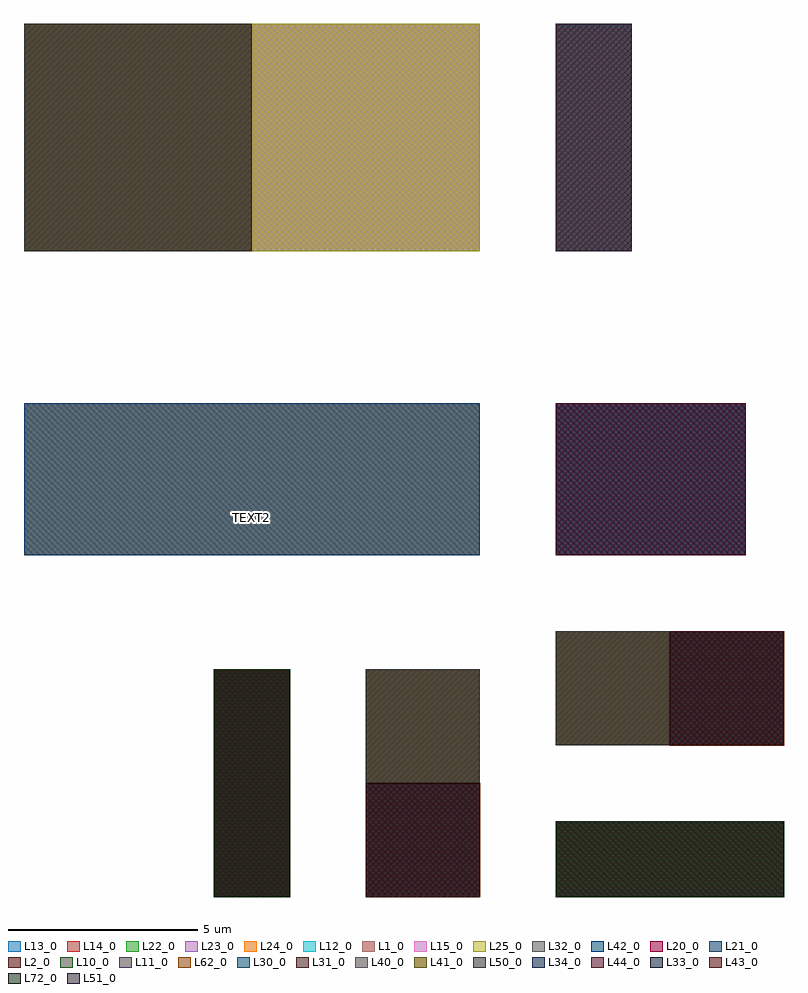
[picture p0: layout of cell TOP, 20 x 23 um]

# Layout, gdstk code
from math import pi, radians
import gdstk
lib = gdstk.Library(unit=1e-6, precision=1e-09)
def R(c, l, rs):  # rectangles x0, y0, x1, y1
    for r in rs: c.add(gdstk.rectangle(r[:2], r[2:], *l))
L1_0 = (1, 0)
L2_0 = (2, 0)
L10_0 = (10, 0)
L11_0 = (11, 0)
L12_0 = (12, 0)
L13_0 = (13, 0)
L14_0 = (14, 0)
L15_0 = (15, 0)
L20_0 = (20, 0)
L21_0 = (21, 0)
L22_0 = (22, 0)
L23_0 = (23, 0)
L24_0 = (24, 0)
L25_0 = (25, 0)
L30_0 = (30, 0)
L31_0 = (31, 0)
L32_0 = (32, 0)
L33_0 = (33, 0)
L34_0 = (34, 0)
L40_0 = (40, 0)
L41_0 = (41, 0)
L42_0 = (42, 0)
L43_0 = (43, 0)
L44_0 = (44, 0)
L50_0 = (50, 0)
L51_0 = (51, 0)
L61_0 = (61, 0)
L62_0 = (62, 0)
L71_0 = (71, 0)
L72_0 = (72, 0)

c_a = lib.new_cell('A')
R(c_a, L1_0, [(0,0,2,6), (4,0,7,3)])
R(c_a, L2_0, [(4,3,7,6)])
R(c_a, L10_0, [(4,3,7,6)])
R(c_a, L11_0, [(4,3,7,6)])
c_a.add(gdstk.Label('TEXT1', (1,3), layer=3, texttype=0))

a_1 = lib.new_cell('A$1')
R(a_1, L12_0, [(0,0,2,6), (4,0,7,3)])
R(a_1, L13_0, [(0,0,2,6), (4,0,7,3)])
R(a_1, L14_0, [(0,0,2,6), (4,0,7,3)])
R(a_1, L20_0, [(4,3,7,6)])
R(a_1, L21_0, [(4,3,7,6)])
R(a_1, L22_0, [(0,0,2,6), (4,0,7,3)])
R(a_1, L23_0, [(0,0,2,6), (4,0,7,3)])
R(a_1, L24_0, [(0,0,2,6), (4,0,7,3)])
R(a_1, L30_0, [(4,3,7,6)])
R(a_1, L31_0, [(4,3,7,6)])
R(a_1, L33_0, [(0,0,2,6), (4,0,7,3)])
R(a_1, L34_0, [(0,0,2,6), (4,0,7,3)])
R(a_1, L40_0, [(4,3,7,6)])
R(a_1, L41_0, [(4,3,7,6)])
R(a_1, L43_0, [(0,0,2,6), (4,0,7,3)])
R(a_1, L44_0, [(0,0,2,6), (4,0,7,3)])
R(a_1, L50_0, [(4,3,7,6)])
R(a_1, L62_0, [(-0.001,-0.001,2.001,6.001), (3.999,-0.001,7.001,3.001), (3.999,-0.001,7.001,3.001)])
R(a_1, L72_0, [(-0.001,-0.001,2.001,6.001)])
a_1.add(gdstk.FlexPath([(0,0),(0,6)], 0, ends="flush", simple_path=True, layer=61, datatype=0))  # L61_0
a_1.add(gdstk.FlexPath([(0,6),(2,6)], 0, ends="flush", simple_path=True, layer=61, datatype=0))  # L61_0
a_1.add(gdstk.FlexPath([(2,6),(2,0)], 0, ends="flush", simple_path=True, layer=61, datatype=0))  # L61_0
a_1.add(gdstk.FlexPath([(2,0),(0,0)], 0, ends="flush", simple_path=True, layer=61, datatype=0))  # L61_0
a_1.add(gdstk.FlexPath([(4,0),(4,3)], 0, ends="flush", simple_path=True, layer=61, datatype=0))  # L61_0
a_1.add(gdstk.FlexPath([(4,3),(7,3)], 0, ends="flush", simple_path=True, layer=61, datatype=0))  # L61_0
a_1.add(gdstk.FlexPath([(7,3),(7,0)], 0, ends="flush", simple_path=True, layer=61, datatype=0))  # L61_0
a_1.add(gdstk.FlexPath([(7,0),(4,0)], 0, ends="flush", simple_path=True, layer=61, datatype=0))  # L61_0
a_1.add(gdstk.FlexPath([(0,6),(2,6)], 0, ends="flush", simple_path=True, layer=71, datatype=0))  # L71_0
a_1.add(gdstk.FlexPath([(2,0),(0,0)], 0, ends="flush", simple_path=True, layer=71, datatype=0))  # L71_0
a_1.add(gdstk.FlexPath([(4,0),(4,3)], 0, ends="flush", simple_path=True, layer=71, datatype=0))  # L71_0
a_1.add(gdstk.FlexPath([(4,3),(7,3)], 0, ends="flush", simple_path=True, layer=71, datatype=0))  # L71_0
a_1.add(gdstk.FlexPath([(7,3),(7,0)], 0, ends="flush", simple_path=True, layer=71, datatype=0))  # L71_0
a_1.add(gdstk.FlexPath([(7,0),(4,0)], 0, ends="flush", simple_path=True, layer=71, datatype=0))  # L71_0
a_1.add(gdstk.Label('TEXT1', (1,3), layer=60, texttype=0))
a_1.add(gdstk.Label('TEXT1', (1,3), layer=70, texttype=0))

a_var1 = lib.new_cell('A$VAR1')
R(a_var1, L12_0, [(0,0,2,6), (4,0,7,3)])

a_var1_1 = lib.new_cell('A$VAR1$1')
R(a_var1_1, L13_0, [(0,0,2,6), (4,0,7,3)])
R(a_var1_1, L14_0, [(0,0,2,6), (4,0,7,3)])
R(a_var1_1, L20_0, [(4,3,7,6)])
R(a_var1_1, L21_0, [(4,3,7,6)])
R(a_var1_1, L22_0, [(0,0,2,6), (4,0,7,3)])
R(a_var1_1, L23_0, [(0,0,2,6), (4,0,7,3)])
R(a_var1_1, L24_0, [(0,0,2,6), (4,0,7,3)])
R(a_var1_1, L30_0, [(4,3,7,6)])
R(a_var1_1, L31_0, [(4,3,7,6)])
R(a_var1_1, L32_0, [(0,0,2,6)])
R(a_var1_1, L33_0, [(0,0,2,6), (4,0,7,3)])
R(a_var1_1, L34_0, [(4,0,7,3)])
R(a_var1_1, L40_0, [(4,3,7,6)])
R(a_var1_1, L41_0, [(4,3,7,6)])
R(a_var1_1, L42_0, [(0,0,2,6)])
R(a_var1_1, L43_0, [(0,0,2,6), (4,0,7,3)])
R(a_var1_1, L44_0, [(4,0,7,3)])
R(a_var1_1, L50_0, [(4,3,7,6)])
R(a_var1_1, L62_0, [(-0.001,-0.001,2.001,6.001), (3.999,-0.001,7.001,3.001), (3.999,-0.001,7.001,3.001)])
R(a_var1_1, L72_0, [(-0.001,-0.001,2.001,6.001)])
a_var1_1.add(gdstk.FlexPath([(0,0),(0,6)], 0, ends="flush", simple_path=True, layer=61, datatype=0))  # L61_0
a_var1_1.add(gdstk.FlexPath([(0,6),(2,6)], 0, ends="flush", simple_path=True, layer=61, datatype=0))  # L61_0
a_var1_1.add(gdstk.FlexPath([(2,6),(2,0)], 0, ends="flush", simple_path=True, layer=61, datatype=0))  # L61_0
a_var1_1.add(gdstk.FlexPath([(2,0),(0,0)], 0, ends="flush", simple_path=True, layer=61, datatype=0))  # L61_0
a_var1_1.add(gdstk.FlexPath([(4,0),(4,3)], 0, ends="flush", simple_path=True, layer=61, datatype=0))  # L61_0
a_var1_1.add(gdstk.FlexPath([(4,3),(7,3)], 0, ends="flush", simple_path=True, layer=61, datatype=0))  # L61_0
a_var1_1.add(gdstk.FlexPath([(7,3),(7,0)], 0, ends="flush", simple_path=True, layer=61, datatype=0))  # L61_0
a_var1_1.add(gdstk.FlexPath([(7,0),(4,0)], 0, ends="flush", simple_path=True, layer=61, datatype=0))  # L61_0
a_var1_1.add(gdstk.FlexPath([(0,6),(2,6)], 0, ends="flush", simple_path=True, layer=71, datatype=0))  # L71_0
a_var1_1.add(gdstk.FlexPath([(2,0),(0,0)], 0, ends="flush", simple_path=True, layer=71, datatype=0))  # L71_0
a_var1_1.add(gdstk.FlexPath([(4,0),(4,3)], 0, ends="flush", simple_path=True, layer=71, datatype=0))  # L71_0
a_var1_1.add(gdstk.FlexPath([(4,3),(7,3)], 0, ends="flush", simple_path=True, layer=71, datatype=0))  # L71_0
a_var1_1.add(gdstk.FlexPath([(7,3),(7,0)], 0, ends="flush", simple_path=True, layer=71, datatype=0))  # L71_0
a_var1_1.add(gdstk.FlexPath([(7,0),(4,0)], 0, ends="flush", simple_path=True, layer=71, datatype=0))  # L71_0
a_var1_1.add(gdstk.Label('TEXT1', (1,3), layer=60, texttype=0))
a_var1_1.add(gdstk.Label('TEXT1', (1,3), layer=70, texttype=0))

a_var1_var1 = lib.new_cell('A$VAR1$VAR1')
R(a_var1_var1, L13_0, [(0,0,2,6), (4,0,7,3)])
R(a_var1_var1, L14_0, [(0,0,2,6), (4,0,7,3)])
R(a_var1_var1, L15_0, [(0,0,2,6), (4,0,7,3)])
R(a_var1_var1, L20_0, [(4,3,7,6)])
R(a_var1_var1, L21_0, [(4,3,7,6)])
R(a_var1_var1, L22_0, [(0,0,2,6), (4,0,7,3)])
R(a_var1_var1, L23_0, [(0,0,2,6), (4,0,7,3)])
R(a_var1_var1, L24_0, [(0,0,2,6), (4,0,7,3)])
R(a_var1_var1, L25_0, [(0,0,2,6), (4,0,7,3)])
R(a_var1_var1, L30_0, [(4,3,7,6)])
R(a_var1_var1, L31_0, [(4,3,7,6)])
R(a_var1_var1, L32_0, [(0,0,2,6)])
R(a_var1_var1, L40_0, [(4,3,7,6)])
R(a_var1_var1, L41_0, [(4,3,7,6)])
R(a_var1_var1, L42_0, [(0,0,2,6)])
R(a_var1_var1, L50_0, [(4,3,7,6)])
a_var1_var1.add(gdstk.FlexPath([(0,0),(0,6)], 0, ends="flush", simple_path=True, layer=61, datatype=0))  # L61_0
a_var1_var1.add(gdstk.FlexPath([(0,6),(2,6)], 0, ends="flush", simple_path=True, layer=61, datatype=0))  # L61_0
a_var1_var1.add(gdstk.FlexPath([(2,6),(2,0)], 0, ends="flush", simple_path=True, layer=61, datatype=0))  # L61_0
a_var1_var1.add(gdstk.FlexPath([(2,0),(0,0)], 0, ends="flush", simple_path=True, layer=61, datatype=0))  # L61_0
a_var1_var1.add(gdstk.FlexPath([(4,0),(4,3)], 0, ends="flush", simple_path=True, layer=61, datatype=0))  # L61_0
a_var1_var1.add(gdstk.FlexPath([(4,3),(7,3)], 0, ends="flush", simple_path=True, layer=61, datatype=0))  # L61_0
a_var1_var1.add(gdstk.FlexPath([(7,3),(7,0)], 0, ends="flush", simple_path=True, layer=61, datatype=0))  # L61_0
a_var1_var1.add(gdstk.FlexPath([(7,0),(4,0)], 0, ends="flush", simple_path=True, layer=61, datatype=0))  # L61_0
a_var1_var1.add(gdstk.FlexPath([(0,6),(2,6)], 0, ends="flush", simple_path=True, layer=71, datatype=0))  # L71_0
a_var1_var1.add(gdstk.FlexPath([(2,0),(0,0)], 0, ends="flush", simple_path=True, layer=71, datatype=0))  # L71_0
a_var1_var1.add(gdstk.FlexPath([(4,0),(4,3)], 0, ends="flush", simple_path=True, layer=71, datatype=0))  # L71_0
a_var1_var1.add(gdstk.FlexPath([(4,3),(7,3)], 0, ends="flush", simple_path=True, layer=71, datatype=0))  # L71_0
a_var1_var1.add(gdstk.FlexPath([(7,3),(7,0)], 0, ends="flush", simple_path=True, layer=71, datatype=0))  # L71_0
a_var1_var1.add(gdstk.FlexPath([(7,0),(4,0)], 0, ends="flush", simple_path=True, layer=71, datatype=0))  # L71_0
a_var1_var1.add(gdstk.Label('TEXT1', (1,3), layer=60, texttype=0))
a_var1_var1.add(gdstk.Label('TEXT1', (1,3), layer=70, texttype=0))

top = lib.new_cell('TOP')
R(top, L1_0, [(1,10,6,14)])
R(top, L2_0, [(1,18,3,24)])
R(top, L10_0, [(1,18,3,24)])
R(top, L11_0, [(1,18,3,24)])
R(top, L12_0, [(1,10,6,14)])
R(top, L13_0, [(1,10,6,14)])
R(top, L14_0, [(1,10,6,14)])
R(top, L15_0, [(1,10,6,14)])
R(top, L20_0, [(1,18,3,24)])
R(top, L21_0, [(1,18,3,24)])
R(top, L22_0, [(1,10,6,14)])
R(top, L23_0, [(1,10,6,14)])
R(top, L24_0, [(1,10,6,14)])
R(top, L25_0, [(1,10,6,14)])
R(top, L32_0, [(1,10,6,14)])
R(top, L34_0, [(1,10,6,14)])
R(top, L42_0, [(1,10,6,14)])
R(top, L44_0, [(1,10,6,14)])
R(top, L51_0, [(1,18,3,24)])
top.add(gdstk.FlexPath([(1,10),(1,14)], 0, ends="flush", simple_path=True, layer=61, datatype=0))  # L61_0
top.add(gdstk.FlexPath([(1,14),(6,14)], 0, ends="flush", simple_path=True, layer=61, datatype=0))  # L61_0
top.add(gdstk.FlexPath([(6,14),(6,10)], 0, ends="flush", simple_path=True, layer=61, datatype=0))  # L61_0
top.add(gdstk.FlexPath([(6,10),(1,10)], 0, ends="flush", simple_path=True, layer=61, datatype=0))  # L61_0
r = gdstk.Reference(c_a, (-8,1)); r.repetition = gdstk.Repetition(1, 1, v1=(0,0), v2=(0,0)); top.add(r)
r = gdstk.Reference(c_a, (7,1), rotation=pi/2); r.repetition = gdstk.Repetition(1, 1, v1=(0,0), v2=(0,0)); top.add(r)
r = gdstk.Reference(c_a, (-1,10), rotation=pi/2, magnification=2); r.repetition = gdstk.Repetition(1, 1, v1=(0,0), v2=(0,0)); top.add(r)
r = gdstk.Reference(a_1, (-8,1)); r.repetition = gdstk.Repetition(1, 1, v1=(0,0), v2=(0,0)); top.add(r)
r = gdstk.Reference(a_var1, (7,1), rotation=pi/2); r.repetition = gdstk.Repetition(1, 1, v1=(0,0), v2=(0,0)); top.add(r)
r = gdstk.Reference(a_var1, (-1,10), rotation=pi/2, magnification=2); r.repetition = gdstk.Repetition(1, 1, v1=(0,0), v2=(0,0)); top.add(r)
r = gdstk.Reference(a_var1_1, (7,1), rotation=pi/2); r.repetition = gdstk.Repetition(1, 1, v1=(0,0), v2=(0,0)); top.add(r)
r = gdstk.Reference(a_var1_var1, (-1,10), rotation=pi/2, magnification=2); r.repetition = gdstk.Repetition(1, 1, v1=(0,0), v2=(0,0)); top.add(r)
top.add(gdstk.Label('TEXT2', (-7,11), layer=60, texttype=0))
top.add(gdstk.Label('TEXT2', (-7,11), layer=3, texttype=0))

lib.write_gds('TOP.gds')
